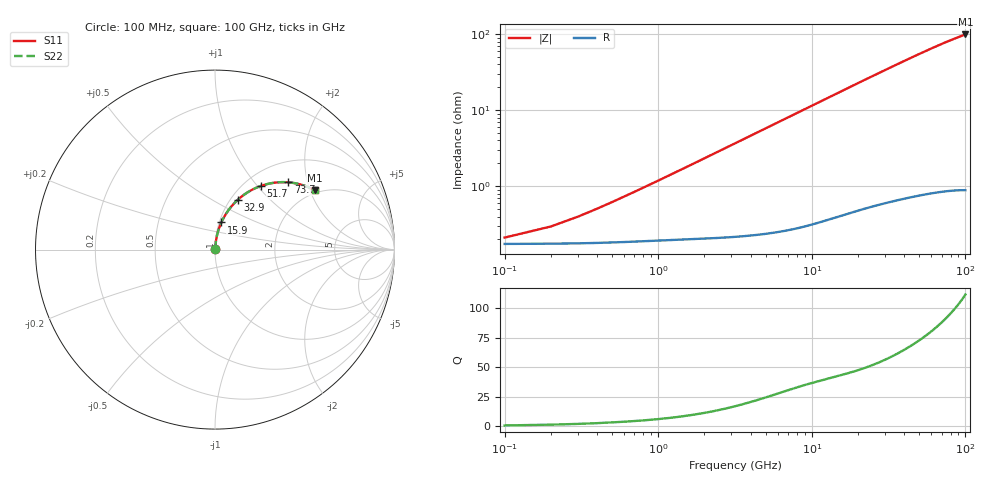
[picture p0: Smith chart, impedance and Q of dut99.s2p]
! Touchstone file exported from HFSS 2026.1.0
!  File:  C:/ffzhzh/LocalFiles/Ansys_Project_Files/temp_train_RDL_99_1783499100_9504.aedt
!  Generated:  04:26:09 PM Jul  8, 2026
!  Design:  RDL
!  Project:  temp_train_RDL_99_1783499100_9504
! Variables:
!  h_bsmrdl = 2um
!  h_ox = 20um
!  h_rdl = 5um
!  h_sub = 80um
!  h_tmrdl = 2.75um
!  h_tsv = 80um
!  h_via = 3um
!  l_bsmrdl = 300um
!  l_sub = 532.64um
!  l_tmrdl = 132.64um
!  m_sub = 200um
!  pitch = 48.49um
!  r_tsv = 6um
!  s_tmrdl = 10um
!  w_bsmrdl = 18um
!  w_sub = 500um
!  w_tmrdl = 11.08um
!  x_tsv_center1 = 138.18um
!  x_tsv_center2 = 456.18um
!  x_tsv_center3 = 599.9um
!  x_tsv_center4 = 917.9um
!  x_tsv_center5 = 1061.62um
!  x_tsv_center6 = 1379.62um
# GHz S MA R 50.000000
! Terminal data exported
! Port[1] = TM_RDL1_1_T1
! Port[2] = TM_RDL1_1_T2
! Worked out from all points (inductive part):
!   1000 points, 100 MHz to 100 GHz, reference 50 ohm
!   read as one part in series: L = 187 pH near 600 MHz
!   highest Q = 112 at 100 GHz (marker M1), where L = 158 pH
!   S11 on the Smith chart (normalised r, x): 100 MHz: 1.00, +0.00; 15.9 GHz: 1.02, +0.32; 32.9 GHz: 1.08, +0.66; 51.7 GHz: 1.19, +1.05; 73.7 GHz: 1.41, +1.53; 100 GHz: 1.90, +2.15
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0.1  0.002028 30.8  0.9983 -0.1  0.9983 -0.1  0.002028 30.8
! Gamma 0 0 0 0
! Port Impedance 50 0 50 0
0.4  0.004509 66.2  0.9982 -0.3  0.9982 -0.3  0.004509 66.2
0.9  0.009386 77.6  0.9981 -0.7  0.9981 -0.7  0.009386 77.6
1.2  0.01235 80.0  0.998 -0.9  0.998 -0.9  0.01235 80.0
1.5  0.01532 81.4  0.9979 -1.1  0.9979 -1.1  0.01532 81.4
2  0.0203 82.7  0.9978 -1.5  0.9978 -1.5  0.0203 82.7
2.5  0.02528 83.4  0.9976 -1.9  0.9976 -1.9  0.02528 83.4
3.9  0.03922 83.8  0.997 -2.9  0.997 -2.9  0.03922 83.8
5.9  0.05906 83.2  0.9958 -4.4  0.9958 -4.4  0.05906 83.2
8.5  0.08463 81.8  0.9936 -6.3  0.9936 -6.3  0.08463 81.8
11.8  0.1166 79.6  0.9898 -8.7  0.9898 -8.7  0.1166 79.6
15.9  0.1554 76.8  0.9838 -11.6  0.9838 -11.6  0.1554 76.8
16.8  0.1637 76.2  0.9823 -12.3  0.9823 -12.3  0.1637 76.2
24  0.2286 71.4  0.9684 -17.3  0.9684 -17.3  0.2286 71.4
32.9  0.3033 65.6  0.947 -23.3  0.947 -23.3  0.3033 65.6
33.4  0.3073 65.2  0.9456 -23.6  0.9456 -23.6  0.3073 65.3
50.1  0.4276 55.1  0.8971 -34.0  0.8971 -34.0  0.4276 55.1
51.7  0.4378 54.2  0.8922 -34.9  0.8922 -34.9  0.4378 54.2
66.7  0.5219 46.0  0.8459 -43.2  0.8459 -43.2  0.5219 46.0
73.7  0.5546 42.5  0.8249 -46.7  0.8249 -46.7  0.5546 42.5
83.4  0.5937 37.9  0.7974 -51.4  0.7974 -51.4  0.5937 38.0
100  0.6462 30.7  0.7559 -58.6  0.7559 -58.6  0.6462 30.8
